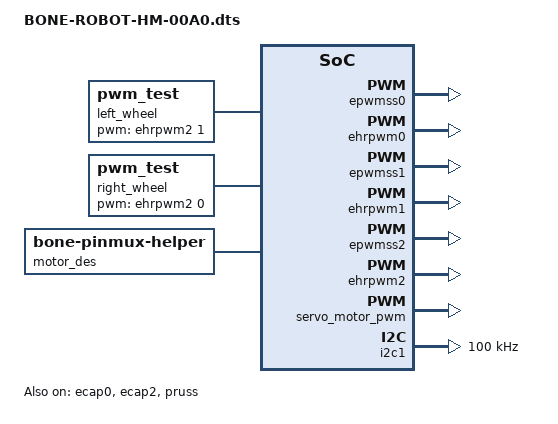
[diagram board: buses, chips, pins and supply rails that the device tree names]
/*
 * Copyright (C) 2013 Bas Laarhoven
 *
 * This program is free software; you can redistribute it and/or modify
 * it under the terms of the GNU General Public License version 2 as
 * published by the Free Software Foundation.
 *
 * version 1.1 - 2013-08-01 initial version copied from 2191-R2.dts
 * version 1.2 - 2013-08-05 created version for BeBoPr with enable workaround.
 *               Can be used with all BeagleBone colors. On a BBB, use with
 *               uEnv.txt that disables HDMI and eMMC and loads this overlay,
 *               as shown below (optargs all on a single line!):
 *
 *                  optargs=quiet capemgr.disable_partno=BB-BONELT-HDMI,\
 *                                                       BB-BONELT-HDMIN,\
 *                                capemgr.enable_partno=bone-robot-hm
 *
 */
/dts-v1/;
/plugin/;

/ {
	compatible = "ti,beaglebone", "ti,beaglebone-black";

	/* identification */
	part-number = "BONE-ROBOT-HM";
	version = "00A0";

	exclusive-use =
	/* state the resources this cape uses */

	/* ------ PWM ------ */
		"P8.13",    /* EHRPWM2B */
		"P8.19",    /* EHRPWM2A */
		"P9.22",    /* EHRPWM0A */
		"ehrpwm0A",
		"ehrpwm2A",
		"ehrpwm2B",

	/* ------ DC MOTOR DIRECTION ------ */
		"P9.11",    /* gpio0.30 */
		"P9.12",    /* gpio1.28 */
		"P9.13",    /* gpio0.31 */
		"P9.14",    /* gpio1.18 */

	/* ------ DC MOTOR Decoder ------ */
        "P8.15",    /* pr1_pru0_pru_r31_15, leftside */
        "P8.16",    /* pr1_pru0_pru_r31_14, leftside */
        "P8.45",    /* pr1_pru1_pru_r31_0,  rightside */
        "P8.46",    /* pr1_pru1_pru_r31_1,  rightside */
		"pru0",
		"pru1",
		"pruss",

	/* ------ KEYES LED ------ */
        "P9.15",
        "P9.16",
        "P9.23",

	/* ------ MPU6050 ------ */
		/* the pin header uses */
		"P9.18",	/* i2c1_sda */
		"P9.17",	/* i2c1_scl */
		/* the hardware ip uses */
		"i2c1";

	/* ----------- PWM ------------ */
	fragment@10 {
		target = <&epwmss0>;
		__overlay__ {
			status = "okay";
		};
	};

	fragment@11 {
		target = <&ehrpwm0>;
		__overlay__ {
			status = "okay";
		};
	};

	fragment@12 {
		target = <&ecap0>;
		__overlay__ {
			status = "okay";
		};
	};

	fragment@13 {
		target = <&epwmss1>;
		__overlay__ {
			status = "okay";
		};
	};

	fragment@14 {
		target = <&ehrpwm1>;
		__overlay__ {
			status = "okay";
		};
	};

	fragment@15 {
		target = <&epwmss2>;
		__overlay__ {
			status = "okay";
		};
	};

	fragment@16 {
		target = <&ehrpwm2>;
		__overlay__ {
			status = "okay";
		};
	};

	fragment@17 {
		target = <&ecap2>;
		__overlay__ {
			status = "okay";
		};
	};

	fragment@18 {
		target = <&am33xx_pinmux>;
		__overlay__ {

			P8_13_ehrpwm_pin: P8_13_ehrpwm_pin {
				pinctrl-single,pins = <0x24  0x4>; /* P8_13 | MODE 4 */
			};

			P8_19_ehrpwm_pin: P8_19_ehrpwm_pin {
				pinctrl-single,pins = <0x20  0x4>; /* P8_19 | MODE 4 */
			};

			P9_22_ehrpwm_pin: P9_22_ehrpwm_pin {
				pinctrl-single,pins = <0x150  0x3>; /* P9_22 | MODE 3 */
			};

		};
	};

	fragment@19 {
		target = <&ocp>;
		__overlay__ {
			left_wheel {
				compatible	= "pwm_test";
				pwms		= <&ehrpwm2 1 20000000 0>;
				pwm-names	= "left_wheel";
				pinctrl-names	= "default";
				pinctrl-0	= <&P8_13_ehrpwm_pin>;
				enabled		= <0>;
				duty		= <1500000>;
				status		= "okay";
			};

			right_wheel {
				compatible	= "pwm_test";
				pwms		= <&ehrpwm2 0 20000000 0>;
				pwm-names	= "right_wheel";
				pinctrl-names	= "default";
				pinctrl-0	= <&P8_19_ehrpwm_pin>;
				enabled		= <0>;
				duty		= <1500000>;
				status		= "okay";
			};

			servo_motor_pwm {
				compatible	= "pwm_test";
				pwms		= <&ehrpwm0 0 20000000 0>;
				pwm-names	= "servo_motor";
				pinctrl-names	= "default";
				pinctrl-0	= <&P9_22_ehrpwm_pin>;
				enabled		= <0>;
				duty		= <1500000>;
				status		= "okay";
			};
		};
	};

	/* ----------- DC MOTOR DIRECTION ------------ */
	fragment@30 {
		target = <&am33xx_pinmux>;
		__overlay__ {

			robot_dcmotor_pins: robot_dcmotor_pins {
				status = "okay";
				pinctrl-single,pins = <
					0x70 0x27   /* P9_11, gpio0.30  */
					0x78 0x27   /* P9_12, gpio1.28  */
					0x74 0x27   /* P9_13, gpio0.31  */
					0x48 0x27   /* P9_14, gpio1.18  */
				>;
			};
		};
	};

	/* ----------- DC MOTOR Decoder ------------ */
	fragment@40 {
		target = <&am33xx_pinmux>;
		__overlay__ {
			motor_decoder_pins: motor_decoder_pins {
				status = "okay";
				pinctrl-single,pins = <
					0x3c 0x36  /* pr1_pru0_pru_r31_15, leftside, P8_15, mode6 in */
					0x38 0x36  /* pr1_pru0_pru_r31_14, leftside, P8_16, mode6 in */
					0xa0 0x36  /* pr1_pru1_pru_r31_0, P8_45, mode6 in */
					0xa4 0x36  /* pr1_pru1_pru_r31_1, P8_46, mode6 in */
				>;
			};
		};
	};

	fragment@41 {
		target = <&ocp>;
		__overlay__ {
			motor_des {
				compatible = "bone-pinmux-helper";
				status = "okay";
				pinctrl-names = "default";
				pinctrl-0 = <&motor_decoder_pins>;

				decoder1 {
					gpio-name = "motor_decoders:decoder1";
					gpio = <&gpio2 15 0>;
					input;
					init-low;
				};
				decoder2 {
					gpio-name = "motor_decoders:decoder2";
					gpio = <&gpio2 14 0>;
					input;
					init-low;
				};
				decoder3 {
					gpio-name = "motor_decoders:decoder3";
					gpio = <&gpio3 6 0>;
					input;
					init-low;
				};
				decoder4 {
					gpio-name = "motor_decoders:decoder4";
					gpio = <&gpio3 7 0>;
					input;
					init-low;
				};
			};
		};
	};

	fragment@42 {
		target = <&pruss>;
		__overlay__ {
			status = "okay";
		};
	};

	/* -------------------------- MPU6050 --------------------- */
	fragment@50 {
		target = <&am33xx_pinmux>;
		__overlay__ {
			bb_i2c1_pins: pinmux_bb_i2c1_pins {
				pinctrl-single,pins = <
					0x158 0x72	/* spi0_d1.i2c1_sda, SLEWCTRL_SLOW | INPUT_PULLUP | MODE2 */
					0x15c 0x72	/* spi0_cs0.i2c1_scl, SLEWCTRL_SLOW | INPUT_PULLUP | MODE2 */
				>;
			};
		};
	};

	fragment@51 {
		target = <&i2c1>;	/* i2c1 is numbered correctly */
		__overlay__ {
			status = "okay";
			pinctrl-names = "default";
			pinctrl-0 = <&bb_i2c1_pins>;

			/* this is the configuration part */
			clock-frequency = <100000>;

			#address-cells = <1>;
			#size-cells = <0>;

			/* add any i2c devices on the bus here */

			// commented out example of a touchscreen (taken from BB-BONE-LCD7-01-00A4) */
			// maxtouch@4a {
			//	compatible = "mXT224";
			//	reg = <0x4a>;
			//	interrupt-parent = <&gpio4>;
			//	interrupts = <19 0x0>;
			//	atmel,irq-gpio = <&gpio4 19 0>;
			// };
		};
	};

	/* ----------- shining KEYES LED ------------ */
	fragment@60 {
		target = <&am33xx_pinmux>;
		__overlay__ {

			keyes_led_pins: keyes_led_pins {
				status = "okay";
				pinctrl-single,pins = <
					0x40 0x37   /* P9_15, gpio1.16, RED  */
					0x4c 0x37   /* P9_16, gpio1.19, GREEN  */
					0x44 0x37   /* P9_23, gpio1.17, BLUE  */
				>;
			};
		};
	};


};
